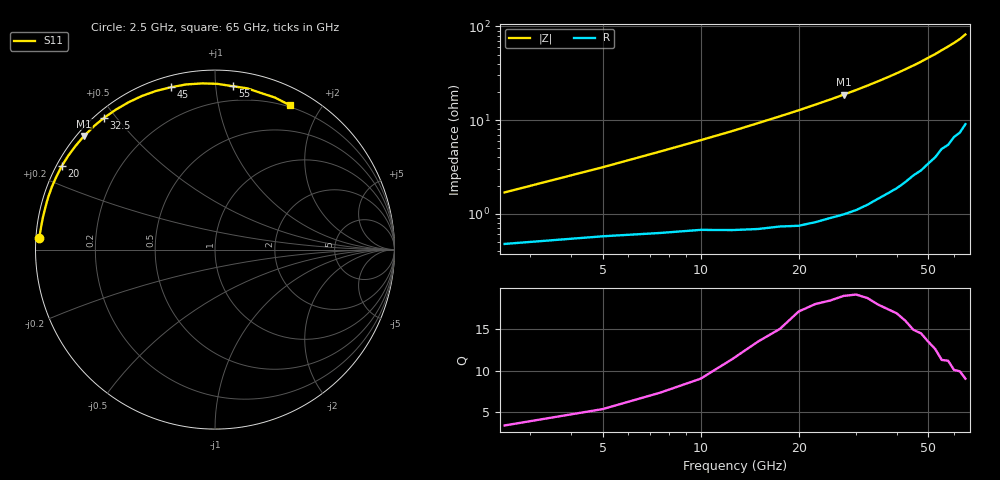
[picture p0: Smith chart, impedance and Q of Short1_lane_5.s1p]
! File created by SignalIntegrity v1.5.1: Signal and Power Integrity Tools
! https://github.com/Nubis-Communications/SignalIntegrity
# MHz S MA R 50.0
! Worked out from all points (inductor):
!   26 points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, 2.5 GHz to 65 GHz, reference 50 ohm
!   read as one part to ground: L = 98 pH near 2.5 GHz
!   highest Q = 19 at 27.5 GHz (marker M1), where L = 108 pH
!   S11 on the Smith chart (normalised r, x): 2.5 GHz: 0.01, +0.03; 20 GHz: 0.01, +0.25; 32.5 GHz: 0.02, +0.47; 45 GHz: 0.05, +0.76; 55 GHz: 0.10, +1.11; 65 GHz: 0.18, +1.63
2500  0.9812 176.3
5000  0.9774 173.0
7500  0.9756 169.6
10000  0.9739 166.2
12500  0.9742 162.7
15000  0.9738 159.0
17500  0.9725 155.3
20000  0.9725 151.5
22500  0.9705 147.4
25000  0.9681 143.3
27500  0.966 139.1
30000  0.9635 134.6
32500  0.9599 130.0
35000  0.9555 125.3
37500  0.9516 120.4
40000  0.9479 115.5
42500  0.943 110.3
45000  0.9373 105.2
47500  0.9342 99.9
50000  0.9287 94.4
52500  0.9237 89.3
55000  0.9157 83.7
57500  0.9162 78.7
60000  0.9093 73.6
62500  0.9105 68.5
65000  0.9065 62.6
